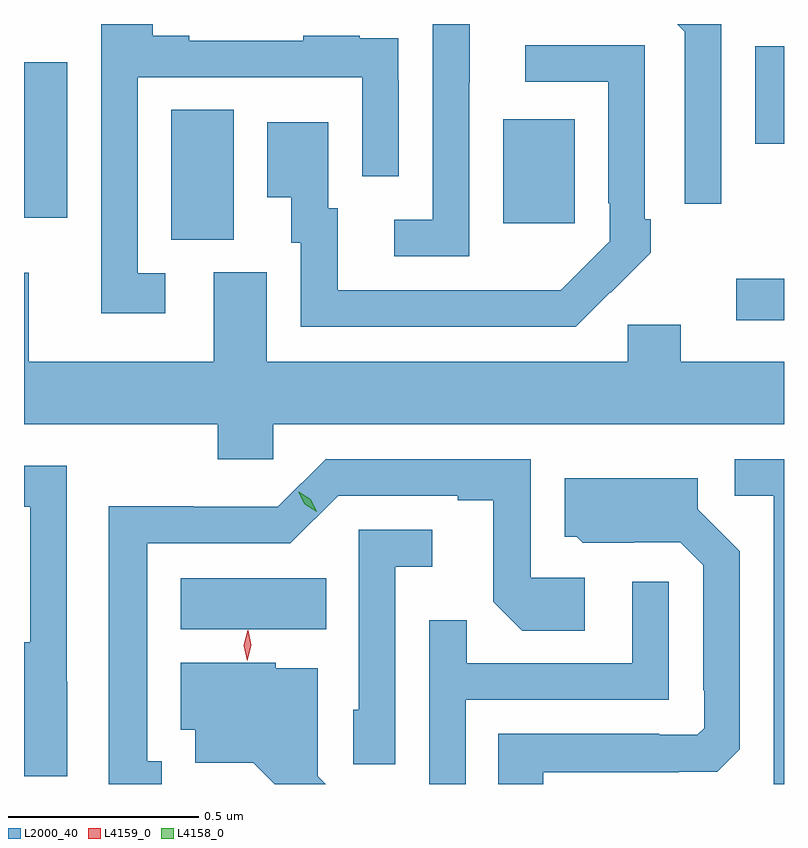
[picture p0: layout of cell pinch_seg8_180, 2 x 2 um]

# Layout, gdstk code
import gdstk
lib = gdstk.Library(unit=1e-6, precision=1e-09)
def R(c, l, rs):  # rectangles x0, y0, x1, y1
    for r in rs: c.add(gdstk.rectangle(r[:2], r[2:], *l))
def P(c, l, *ps):  # polygons
    for p in ps: c.add(gdstk.Polygon(p, *l))
L2000_40 = (2000, 40)
L4158_0 = (4158, 0)
L4159_0 = (4159, 0)

pinch_seg8_180 = lib.new_cell('pinch_seg8_180')
R(pinch_seg8_180, L2000_40, [(706.802,1162.58,707.186,1162.714), (708.264,1163.394,708.39,1163.503), (706.778,1163.605,706.942,1163.948), (707.651,1163.649,707.839,1163.923), (706.39,1163.663,706.504,1164.073), (708.314,1163.858,708.39,1164.115)])
P(pinch_seg8_180, L2000_40, [(708.225,1164.173),(708.109,1164.173),(708.129,1164.153),(708.129,1163.7),(708.225,1163.7)],
  [(707.562,1164.019),(707.563,1164.019),(707.563,1164.173),(707.466,1164.173),(707.466,1163.658),(707.364,1163.658),(707.364,1163.562),(707.562,1163.562)],
  [(706.762,1163.517),(706.689,1163.517),(706.689,1164.033),(707.28,1164.033),(707.28,1163.772),(707.376,1163.772),(707.376,1164.026),(707.375,1164.026),(707.375,1164.135),(707.273,1164.135),(707.273,1164.142),(707.125,1164.142),(707.125,1164.129),(706.825,1164.129),(706.825,1164.142),(706.729,1164.142),(706.729,1164.173),(706.593,1164.173),(706.593,1163.412),(706.762,1163.412)],
  [(707.933,1163.467),(707.934,1163.466),(708.039,1163.571),(708.039,1163.659),(708.024,1163.659),(708.024,1164.117),(707.709,1164.117),(707.709,1164.021),(707.928,1164.021),(707.928,1163.701),(707.931,1163.701),(707.931,1163.601),(707.803,1163.473),(707.699,1163.473),(707.699,1163.472),(707.215,1163.472),(707.215,1163.688),(707.191,1163.688),(707.191,1163.914),(707.03,1163.914),(707.03,1163.717),(707.093,1163.717),(707.093,1163.598),(707.118,1163.598),(707.118,1163.376),(707.842,1163.376)],
  [(707.046,1163.12),(708.39,1163.12),(708.39,1163.284),(708.118,1163.284),(708.118,1163.382),(707.979,1163.382),(707.979,1163.284),(707.029,1163.284),(707.029,1163.52),(706.889,1163.52),(706.889,1163.284),(706.403,1163.284),(706.403,1163.518),(706.39,1163.518),(706.39,1163.12),(706.9,1163.12),(706.9,1163.027),(707.046,1163.027)],
  [(706.753,1162.233),(706.714,1162.233),(706.714,1162.806),(707.091,1162.806),(707.217,1162.932),(707.531,1162.932),(707.531,1162.92),(707.625,1162.92),(707.625,1162.652),(707.701,1162.576),(707.866,1162.576),(707.866,1162.716),(707.724,1162.716),(707.724,1163.028),(707.184,1163.028),(707.058,1162.902),(706.836,1162.902),(706.836,1162.904),(706.613,1162.904),(706.613,1162.173),(706.753,1162.173)],
  [(708.39,1163.028),(708.261,1163.028),(708.261,1162.932),(708.363,1162.932),(708.363,1162.173),(708.39,1162.173)],
  [(706.504,1162.442),(706.503,1162.442),(706.503,1163.01),(706.39,1163.01),(706.39,1162.902),(706.406,1162.902),(706.406,1162.546),(706.39,1162.546),(706.39,1162.194),(706.504,1162.194)],
  [(707.757,1162.204),(708.113,1162.204),(708.113,1162.205),(708.214,1162.205),(708.273,1162.264),(708.273,1162.786),(708.163,1162.896),(708.163,1162.978),(707.813,1162.978),(707.813,1162.824),(707.844,1162.824),(707.86,1162.808),(707.994,1162.808),(707.994,1162.809),(708.117,1162.809),(708.177,1162.749),(708.177,1162.42),(708.18,1162.42),(708.18,1162.32),(708.162,1162.302),(708.062,1162.302),(708.062,1162.305),(707.638,1162.305),(707.638,1162.173),(707.757,1162.173)],
  [(707.367,1162.745),(707.464,1162.745),(707.464,1162.842),(707.271,1162.842),(707.271,1162.368),(707.256,1162.368),(707.256,1162.225),(707.367,1162.225)],
  [(707.553,1162.395),(708.087,1162.395),(708.087,1162.705),(707.991,1162.705),(707.991,1162.491),(707.555,1162.491),(707.555,1162.604),(707.457,1162.604),(707.457,1162.173),(707.553,1162.173)],
  [(707.163,1162.194),(707.163,1162.477),(707.052,1162.477),(707.052,1162.492),(706.802,1162.492),(706.802,1162.316),(706.841,1162.316),(706.841,1162.229),(706.993,1162.229),(707.05,1162.173),(707.184,1162.173)])
P(pinch_seg8_180, L4158_0, [(707.161,1162.89),(707.129,1162.909),(707.112,1162.942),(707.112,1162.942),(707.113,1162.942),(707.144,1162.923),(707.161,1162.89),(707.161,1162.89)])
P(pinch_seg8_180, L4159_0, [(706.977,1162.498),(706.968,1162.538),(706.979,1162.577),(706.979,1162.578),(706.98,1162.577),(706.988,1162.538),(706.978,1162.498),(706.978,1162.498)])

lib.write_gds('pinch_seg8_180.gds')
